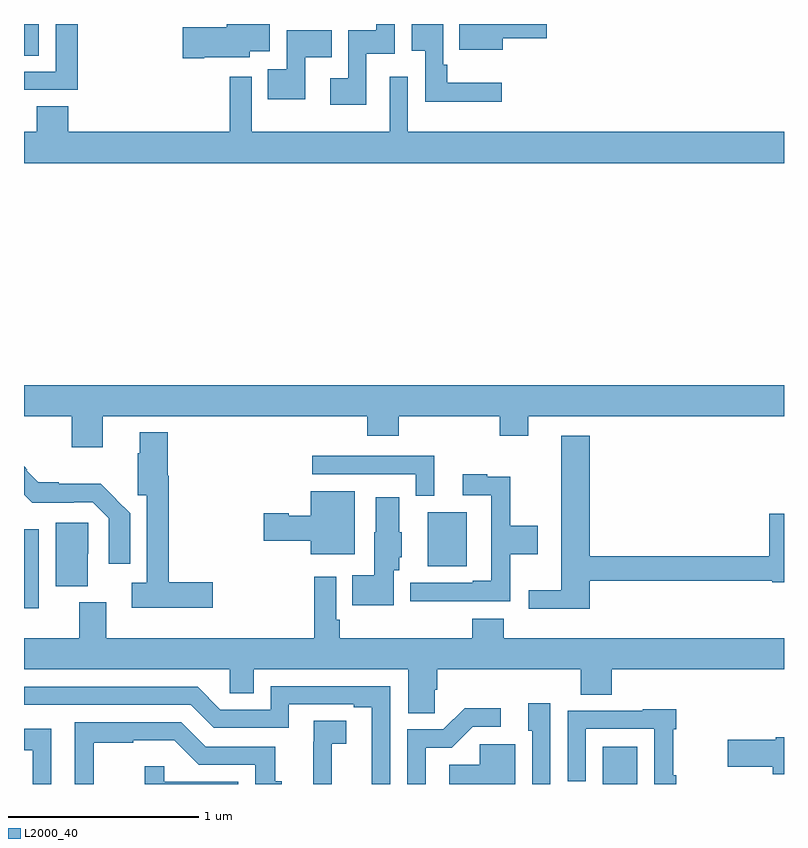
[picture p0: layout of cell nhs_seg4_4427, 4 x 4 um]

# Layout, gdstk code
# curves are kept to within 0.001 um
import gdstk
lib = gdstk.Library(unit=1e-6, precision=1e-09)
def R(c, l, rs):  # rectangles x0, y0, x1, y1
    for r in rs: c.add(gdstk.rectangle(r[:2], r[2:], *l))
def P(c, l, *ps):  # polygons
    for p in ps: c.add(gdstk.Polygon(p, *l))
L2000_40 = (2000, 40)

nhs_seg4_4427 = lib.new_cell('nhs_seg4_4427')
R(nhs_seg4_4427, L2000_40, [(352.046,778.9,352.228,779.095), (349,779.826,349.078,780.241), (351.125,780.047,351.331,780.331), (349,782.734,349.078,782.9)])
P(nhs_seg4_4427, L2000_40, [(349.283,782.9),(349.167,782.9),(349.167,782.649),(349,782.649),(349,782.553),(349.283,782.553)],
  [(350.802,782.744),(350.952,782.744),(350.952,782.9),(350.854,782.9),(350.854,782.866),(350.706,782.866),(350.706,782.614),(350.613,782.614),(350.613,782.474),(350.802,782.474)],
  [(351.514,782.59),(351.227,782.59),(351.227,782.686),(351.207,782.686),(351.207,782.9),(351.041,782.9),(351.041,782.758),(351.111,782.758),(351.111,782.492),(351.514,782.492)],
  [(351.52,782.825),(351.751,782.825),(351.751,782.9),(351.292,782.9),(351.292,782.765),(351.52,782.765)],
  [(349.948,782.726),(350.188,782.726),(350.188,782.756),(350.293,782.756),(350.293,782.9),(350.066,782.9),(350.066,782.884),(349.836,782.884),(349.836,782.719),(349.948,782.719)],
  [(350.479,782.726),(350.621,782.726),(350.621,782.866),(350.382,782.866),(350.382,782.662),(350.284,782.662),(350.284,782.504),(350.479,782.504)],
  [(353,782.332),(351.021,782.332),(351.021,782.623),(350.925,782.623),(350.925,782.332),(350.199,782.332),(350.199,782.623),(350.083,782.623),(350.083,782.332),(349.232,782.332),(349.232,782.468),(349.067,782.468),(349.067,782.332),(349,782.332),(349,782.168),(353,782.168)],
  [(349.414,780.836),(350.807,780.836),(350.807,780.734),(350.972,780.734),(350.972,780.836),(351.503,780.836),(351.503,780.734),(351.655,780.734),(351.655,780.836),(353,780.836),(353,781),(349,781),(349,780.836),(349.25,780.836),(349.25,780.672),(349.414,780.672)],
  [(349.993,779.963),(349.763,779.963),(349.763,780.523),(349.757,780.523),(349.757,780.751),(349.61,780.751),(349.61,780.641),(349.598,780.641),(349.598,780.42),(349.647,780.42),(349.647,779.958),(349.568,779.958),(349.568,779.828),(349.993,779.828)],
  [(351.977,779.97),(352.938,779.97),(352.938,779.962),(353,779.962),(353,780.322),(352.922,780.322),(352.922,780.098),(351.977,780.098),(351.977,780.733),(351.827,780.733),(351.827,779.921),(351.657,779.921),(351.657,779.822),(351.977,779.822)],
  [(351.16,780.627),(350.517,780.627),(350.517,780.531),(351.063,780.531),(351.063,780.416),(351.16,780.416)],
  [(349.558,780.324),(349.403,780.481),(349.183,780.481),(349.183,780.489),(349.075,780.489),(349.013,780.551),(349.017,780.555),(349,780.572),(349,780.422),(349.043,780.38),(349.262,780.38),(349.262,780.384),(349.362,780.384),(349.446,780.3),(349.446,780.06),(349.558,780.06)],
  [(351.275,779.862),(351.56,779.862),(351.56,780.11),(351.703,780.11),(351.703,780.258),(351.56,780.258),(351.56,780.518),(351.437,780.518),(351.437,780.529),(351.309,780.529),(351.309,780.42),(351.459,780.42),(351.459,779.971),(351.362,779.971),(351.362,779.958),(351.033,779.958),(351.033,779.861),(351.275,779.861)],
  [(350.74,780.442),(350.51,780.442),(350.51,780.313),(350.394,780.313),(350.394,780.326),(350.262,780.326),(350.262,780.179),(350.51,780.179),(350.51,780.11),(350.74,780.11)],
  [(350.947,780.024),(350.974,780.024),(350.974,780.093),(350.989,780.093),(350.989,780.225),(350.974,780.225),(350.974,780.409),(350.852,780.409),(350.852,780.225),(350.843,780.225),(350.843,779.998),(350.728,779.998),(350.728,779.84),(350.947,779.84)],
  [(349.336,780.111),(349.338,780.111),(349.338,780.276),(349.166,780.276),(349.166,779.942),(349.336,779.942)],
  [(351.162,779.395),(351.176,779.395),(351.176,779.504),(351.929,779.504),(351.929,779.371),(352.094,779.371),(352.094,779.504),(353,779.504),(353,779.668),(351.524,779.668),(351.524,779.77),(351.359,779.77),(351.359,779.668),(350.663,779.668),(350.663,779.764),(350.643,779.764),(350.643,779.992),(350.527,779.992),(350.527,779.668),(349.432,779.668),(349.432,779.857),(349.292,779.857),(349.292,779.668),(349,779.668),(349,779.504),(350.082,779.504),(350.082,779.377),(350.209,779.377),(350.209,779.504),(351.023,779.504),(351.023,779.272),(351.162,779.272)],
  [(350.928,779.415),(350.298,779.415),(350.298,779.292),(350.034,779.292),(349.914,779.412),(349,779.412),(349,779.316),(349.878,779.316),(349.998,779.196),(350.394,779.196),(350.394,779.319),(350.735,779.319),(350.735,779.304),(350.831,779.304),(350.831,778.9),(350.928,778.9)],
  [(351.771,779.326),(351.653,779.326),(351.653,779.181),(351.675,779.181),(351.675,778.9),(351.771,778.9)],
  [(351.114,779.091),(351.252,779.091),(351.363,779.202),(351.508,779.202),(351.508,779.3),(351.32,779.3),(351.207,779.187),(351.018,779.187),(351.018,778.9),(351.114,778.9)],
  [(352.433,778.947),(352.418,778.947),(352.418,779.189),(352.433,779.189),(352.433,779.293),(352.257,779.293),(352.257,779.286),(351.861,779.286),(351.861,778.914),(351.957,778.914),(351.957,779.19),(352.317,779.19),(352.317,778.9),(352.433,778.9)],
  [(350.619,778.915),(350.621,778.915),(350.621,779.113),(350.695,779.113),(350.695,779.234),(350.524,779.234),(350.524,779.123),(350.522,779.123),(350.522,778.9),(350.619,778.9)],
  [(349.367,779.118),(349.574,779.118),(349.574,779.129),(349.792,779.129),(349.92,779.001),(350.216,779.001),(350.216,778.9),(350.356,778.9),(350.356,778.914),(350.323,778.914),(350.323,779.097),(349.956,779.097),(349.827,779.226),(349.266,779.226),(349.266,778.9),(349.367,778.9)],
  [(349.143,779.191),(349,779.191),(349,779.078),(349.046,779.078),(349.046,778.9),(349.143,778.9)],
  [(353,779.146),(352.956,779.146),(352.956,779.133),(352.704,779.133),(352.704,778.991),(352.94,778.991),(352.94,778.952),(353,778.952)],
  [(351.586,779.109),(351.399,779.109),(351.399,779.002),(351.237,779.002),(351.237,778.9),(351.586,778.9)],
  [(350.127,778.911),(349.737,778.911),(349.737,778.993),(349.636,778.993),(349.636,778.9),(350.127,778.9)])

lib.write_gds('nhs_seg4_4427.gds')
